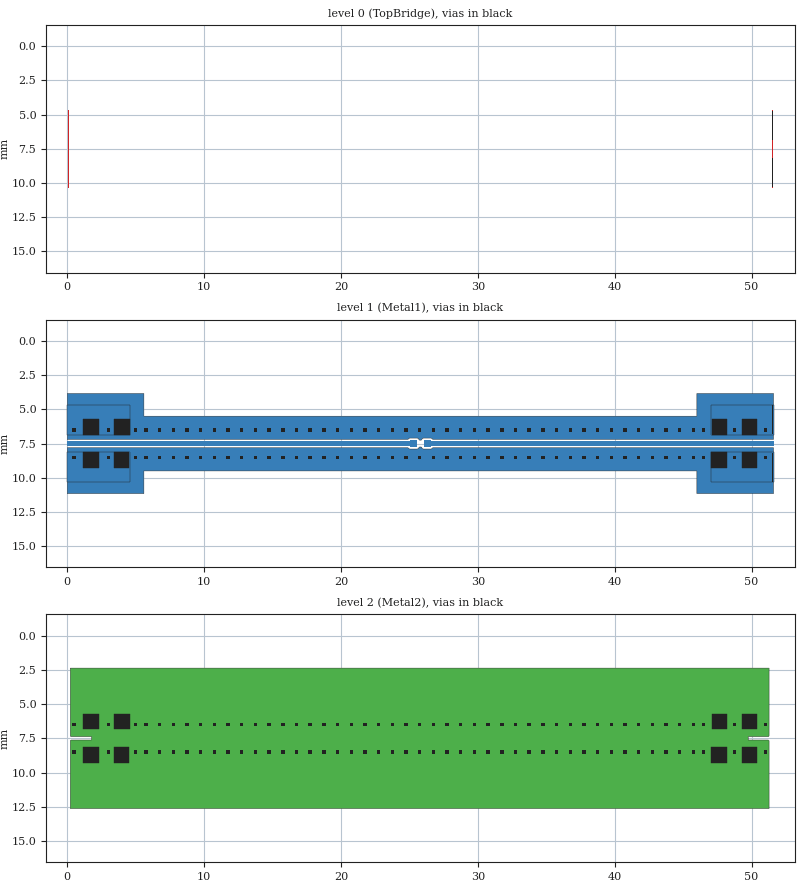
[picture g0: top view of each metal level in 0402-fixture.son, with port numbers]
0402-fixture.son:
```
FTYP SONPROJ 19 ! Sonnet Project File
VER 18.01
HEADER
LIC antikernel2.1.51012 90e2ba8817c1 havequick azonenberg Level3Gold
DAT 09/06/2021 17:50:32
BUILT_BY_CREATED dxf 17.52.2 05/01/2020 05:35:06
BUILT_BY_SAVED sonnet 18.01
MDATE 09/06/2021 17:50:32
HDATE 09/06/2021 17:50:32
ANN Created by dxfgeo, Sonnet Software Inc.
END HEADER
DIM
ANG DEG
CAP PF
CON /OH
FREQ GHZ
IND NH
LNG MM
RES OH
END DIM
CONTROL
VARSWP
OPTIONS  -dj
SPEED 1
CACHE_ABS 1
Q_ACC N
END CONTROL
GEO
SYM
DRP1 LEFT NONE 10
DRP1 RIGHT NONE 10
TMET "Free Space" 0 FREESPACE 376.7303136 0 0 0
BMET "Free Space" 0 FREESPACE 376.7303136 0 0 0
MET "Copper 1oz thick" 2 TMM 58000000 0.5 0.035 2
MET "Nickel " 3 TMM 14300000 0.5 3.5e-05 2
MET "Copper 0.5oz" 1 NOR 58000000 0.5 0.0175 
MET "Unknown_metal" 1 NOR INF 0.5 0 
MET "Copper 0.25mm thick" 4 TMM 58000000 0.5 0.25 2
MET "Brass 0.8mm" 11 TMM 15700000 0.5 0.8 2
MET "Unknown_metal" 1 VOL INF 0
BRI "Alumina (96%)" 0 9.4 0.0004 0 
BRI "Alumina (99.5%)" 0 9.9 0.0001 0 
BRI "Aluminum Nitride" 0 8.6 0.0003 0 
BRI "Arlon 25FR" 0 3.58 0.0035 0 
BRI "Arlon 25N" 0 3.38 0.0025 0 
BRI "Arlon AD5" 0 5.1 0.003 0 
BRI "Arlon AD10" 0 10.2 0.005 0 
BRI "Arlon AD250" 0 2.5 0.0018 0 
BRI "Arlon AD255A" 0 2.55 0.0015 0 
BRI "Arlon AD260A" 0 2.6 0.0018 0 
BRI "Arlon AD270" 0 2.7 0.0023 0 
BRI "Arlon AD300A" 0 3 0.002 0 
BRI "Arlon AD320A" 0 3.2 0.0032 0 
BRI "Arlon AD350A" 0 3.5 0.003 0 
BRI "Arlon AD410" 0 4.1 0.003 0 
BRI "Arlon AD430" 0 4.3 0.003 0 
BRI "Arlon AD450" 0 4.5 0.0035 0 
BRI "Arlon AD600" 0 6.15 0.003 0 
BRI "Arlon AD1000" 0 10.2 0.0023 0 
BRI "Arlon AR1000" 0 9.8 0.003 0 
BRI "Arlon CLTE" 0 2.96 0.0023 0 
BRI "Arlon CLTE-AT" 0 3 0.0013 0 
BRI "Arlon CLTE-P" 0 2.94 0.0025 0 
BRI "Arlon CLTE-XT" 0 2.94 0.0012 0 
BRI "Arlon Cu 217LX" 0 2.17 0.0009 0 
BRI "Arlon Cu 233LX" 0 2.33 0.0013 0 
BRI "Arlon Cu 250GT" 0 2.5 0.001 0 
BRI "Arlon Cu 250GX" 0 2.5 0.0018 0 
BRI "Arlon Cu 6250" 0 2.32 0.0013 0 
BRI "Arlon Cu 6700" 0 2.35 0.0025 0 
BRI "Arlon Di 522" 0 2.5 0.001 0 
BRI "Arlon Di 527" 0 2.5 0.0018 0 
BRI "Arlon Di 870" 0 2.33 0.0013 0 
BRI "Arlon Di 880" 0 2.17 0.0009 0 
BRI "Arlon Iso 917" 0 2.17 0.0013 0 
BRI "Arlon Iso 933" 0 2.33 0.0016 0 
BRI "Arlon Multi HF" 0 3.7 0.004 0 
BRI "Arlon TC350" 0 3.5 0.002 0 
BRI "Arlon TC600" 0 6.15 0.002 0 
BRI "Beryllia (99.5%)" 0 6.5 0.0004 0 
BRI "CEM-1" 0 4.5 0.02 0 
BRI "CEM-3" 0 4.5 0.02 0 
BRI "Dupont 9K7" 0 7.1 0.0012 0 
BRI "Dupont 943" 0 7.4 0.002 0 
BRI "Dupont 951" 0 7.8 0.006 0 
BRI "Dupont FEP" 0 2 0.0005 0 
BRI "Dupont Vacrel" 0 3.8 0.011 0 
BRI "ESL 41010" 0 7.5 0.005 0 
BRI "ESL 41020" 0 7.25 0.005 0 
BRI "ESL 41050" 0 13.5 0.002 0 
BRI "ESL 41060" 0 16.5 0.002 0 
BRI "ESL 41110" 0 4.5 0.004 0 
BRI "Ferro A6M" 0 5.9 0.002 0 
BRI "Ferro A6S" 0 5.9 0.002 0 
BRI "Ferro L8" 0 7.3 0.0018 0 
BRI "FR-4" 0 4.4 0.02 0 
BRI "G-10" 0 4.8 0.025 0 
BRI "Gallium Arsenide" 0 12.9 0.006 0 
BRI "Gallium Nitride" 0 9.7 0 0 
BRI "Glass (Pyrex)" 0 4.82 0.0054 0 
BRI "Heraeus HL2000" 0 7.3 0.0026 0 
BRI "Isola 370HR" 0 4.04 0.021 0 
BRI "Isola FR408" 0 3.77 0.0116 0 
BRI "Isola FR408HR" 0 3.68 0.0092 0 
BRI "Isola Getek" 0 3.6 0.01 0 
BRI "Isola GI-180" 0 3.7 0.013 0 
BRI "Isola IS415" 0 3.82 0.0125 0 
BRI "Isola IS620i" 0 3.58 0.006 0 
BRI "Isola IS680-280" 0 2.8 0.0025 0 
BRI "Isola IS680-300" 0 3 0.003 0 
BRI "Isola IS680-320" 0 3.2 0.003 0 
BRI "Isola IS680-333" 0 3.33 0.003 0 
BRI "Isola IS680-338" 0 3.38 0.0032 0 
BRI "Isola IS680-345" 0 3.45 0.0036 0 
BRI "Kerafol CT800" 0 5.3 0.008 0 
BRI "Nelco MW9350" 0 3.7 0.004 0 
BRI "Nelco N4000-12" 0 3.7 0.008 0 
BRI "Nelco N4000-13" 0 3.7 0.009 0 
BRI "Nelco N4000-13SI" 0 3.2 0.007 0 
BRI "Nelco N4000-13EP" 0 3.7 0.008 0 
BRI "Nelco N4350-13RF" 0 3.5 0.0065 0 
BRI "Nelco N4380-13RF" 0 3.8 0.007 0 
BRI "Nelco N9300-13RF" 0 3 0.004 0 
BRI "Nelco N9320-13RF" 0 3.2 0.0045 0 
BRI "Nelco N9338-13RF" 0 3.38 0.0046 0 
BRI "Nelco N9350-13RF" 0 3.48 0.0055 0 
BRI "Nelco NH9294" 0 2.94 0.0022 0 
BRI "Nelco NH9300" 0 3 0.0023 0 
BRI "Nelco NH9320" 0 3.2 0.0024 0 
BRI "Nelco NH9338" 0 3.38 0.0025 0 
BRI "Nelco NH9348" 0 3.48 0.003 0 
BRI "Nelco NH9350" 0 3.5 0.003 0 
BRI "Nelco NH9410" 0 4.1 0.003 0 
BRI "Nelco NH9450" 0 4.5 0.003 0 
BRI "Nelco NX9240" 0 2.4 0.0016 0 
BRI "Nelco NX9245" 0 2.45 0.0016 0 
BRI "Nelco NX9250" 0 2.5 0.0017 0 
BRI "Nelco NX9255" 0 2.55 0.0018 0 
BRI "Nelco NX9260" 0 2.6 0.0019 0 
BRI "Nelco NY9208" 0 2.08 0.0006 0 
BRI "Nelco NY9217" 0 2.17 0.0008 0 
BRI "Nelco NY9220" 0 2.2 0.0009 0 
BRI "Nelco NY9233" 0 2.33 0.0011 0 
BRI "PET" 0 3.37 0.0208 0 
BRI "Polyimide" 0 3.5 0.003 0 
BRI "Quartz (Fused)" 0 3.78 0.0001 0 
BRI "Rogers 3001" 0 2.28 0.003 0 
BRI "Rogers RO2808" 0 7.6 0.0015 0 
BRI "Rogers RO3003" 0 3 0.0013 0 
BRI "Rogers RO3006" 0 6.5 0.002 0 
BRI "Rogers RO3010" 0 11.2 0.0022 0 
BRI "Rogers RO3035" 0 3.6 0.0018 0 
BRI "Rogers RO3203" 0 3.02 0.0016 0 
BRI "Rogers RO3206" 0 6.6 0.0027 0 
BRI "Rogers RO3210" 0 10.8 0.0027 0 
BRI "Rogers RO3730" 0 3 0.0016 0 
BRI "Rogers RO4003C" 0 3.55 0.0029 0 
BRI "Rogers RO4533" 0 3.45 0.0029 0 
BRI "Rogers RO4534" 0 3.4 0.003 0 
BRI "Rogers RO4350B" 0 3.66 0.0037 0 
BRI "Rogers RO4350BTX" 0 3.66 0.0034 0 
BRI "Rogers RO4360" 0 6.15 0.0038 0 
BRI "Rogers RO4450B-3.6" 0 3.3 0.0043 0 
BRI "Rogers RO4450B-4" 0 3.54 0.004 0 
BRI "Rogers RO4450F" 0 3.52 0.0041 0 
BRI "Rogers RO4730" 0 3 0.0033 0 
BRI "Rogers RT5870" 0 2.33 0.0012 0 
BRI "Rogers RT5880" 0 2.2 0.0009 0 
BRI "Rogers RT5880LZ" 0 1.96 0.0019 0 
BRI "Rogers RT6002" 0 2.94 0.0012 0 
BRI "Rogers RT6006" 0 6.15 0.0027 0 
BRI "Rogers RT6010LM" 0 10.9 0.0023 0 
BRI "Rogers RT6035HTC" 0 3.6 0.0013 0 
BRI "Rogers RT6202" 0 2.94 0.0015 0 
BRI "Rogers RT6202PR" 0 2.95 0.0015 0 
BRI "Rogers Syron7000" 0 3.4 0.0045 0 
BRI "Rogers Syron7100-2" 0 3.61 0.006 0 
BRI "Rogers Syron7100-4" 0 3.39 0.005 0 
BRI "Rogers Theta" 0 4.01 0.0118 0 
BRI "Rogers TMM 3" 0 3.39 0.002 0 
BRI "Rogers TMM 4" 0 4.5 0.002 0 
BRI "Rogers TMM 6" 0 6 0.0023 0 
BRI "Rogers TMM 10" 0 9.56 0.0022 0 
BRI "Rogers TMM 10i" 0 9.96 0.002 0 
BRI "Rogers UL2000" 0 2.5 0.0019 0 
BRI "Rogers UL3850" 0 3.05 0.0025 0 
BRI "Rogers UL3908" 0 2.9 0.0025 0 
BRI "Rogers XT8000" 0 3.34 0.0035 0 
BRI "Rogers XT8100-2" 0 3.54 0.0049 0 
BRI "Rogers XT8100-4" 0 3.32 0.0038 0 
BRI "Silicon (intrinsic)" 0 11.9 0.004 0.00044 
BRI "Silicon Dioxide" 0 3.9 0 0 
BRI "Silicon Nitride" 0 7.5 0 0 
BRI "Taconic CER-10" 0 10 0.0035 0 
BRI "Taconic FastFilm" 0 2.7 0.0012 0 
BRI "Taconic Fastrise-DS" 0 2.96 0.0018 0 
BRI "Taconic Fastrise27" 0 2.7 0.0014 0 
BRI "Taconic Fastrise77" 0 7.7 0.0034 0 
BRI "Taconic FEP" 0 2 0.0003 0 
BRI "Taconic RF-30" 0 3 0.0014 0 
BRI "Taconic RF-35" 0 3.5 0.0018 0 
BRI "Taconic RF-35A2" 0 3.5 0.0011 0 
BRI "Taconic RF-35P" 0 3.5 0.0025 0 
BRI "Taconic RF-41" 0 4.1 0.0038 0 
BRI "Taconic RF-43" 0 4.3 0.0033 0 
BRI "Taconic RF-45" 0 4.5 0.0037 0 
BRI "Taconic RF-60A" 0 6.15 0.0038 0 
BRI "Taconic RF-301" 0 2.97 0.0012 0 
BRI "Taconic TacBond HT" 0 2.35 0.0025 0 
BRI "Taconic TLA-6" 0 2.62 0.0012 0 
BRI "Taconic TLC-27" 0 2.75 0.003 0 
BRI "Taconic TLC-30" 0 3 0.003 0 
BRI "Taconic TLC-32" 0 3.2 0.003 0 
BRI "Taconic TLE-95" 0 2.95 0.0028 0 
BRI "Taconic TLF-34" 0 3.4 0.002 0 
BRI "Taconic TLF-35" 0 3.5 0.002 0 
BRI "Taconic TLP-3" 0 2.33 0.0009 0 
BRI "Taconic TLP-5" 0 2.2 0.0009 0 
BRI "Taconic TLP-5A" 0 2.17 0.0009 0 
BRI "Taconic TLT-0" 0 2.45 0.0006 0 
BRI "Taconic TLT-9" 0 2.5 0.0006 0 
BRI "Taconic TLT-8" 0 2.55 0.0006 0 
BRI "Taconic TLT-7" 0 2.6 0.0006 0 
BRI "Taconic TLT-6" 0 2.65 0.0006 0 
BRI "Taconic TLX-0" 0 2.45 0.0019 0 
BRI "Taconic TLX-9" 0 2.5 0.0019 0 
BRI "Taconic TLX-8" 0 2.55 0.0019 0 
BRI "Taconic TLX-7" 0 2.6 0.0019 0 
BRI "Taconic TLX-6" 0 2.65 0.0019 0 
BRI "Taconic TLY-3" 0 2.33 0.0009 0 
BRI "Taconic TLY-3F" 0 2.33 0.0009 0 
BRI "Taconic TLY-5" 0 2.2 0.0009 0 
BRI "Taconic TLY-5-L" 0 2.2 0.0009 0 
BRI "Taconic TLY-5A" 0 2.17 0.0009 0 
BRI "Taconic TLY-5A-L" 0 2.17 0.0009 0 
BRI "Taconic TPG-30" 0 3 0.0038 0 
BRI "Taconic TPG-32" 0 3.2 0.005 0 
BRI "Taconic TPG-35" 0 3.5 0.005 0 
BRI "Taconic TRF-41" 0 4.1 0.0035 0 
BRI "Taconic TRF-43" 0 4.3 0.0035 0 
BRI "Taconic TRF-45" 0 4.5 0.0035 0 
BRI "Taconic TSM-DS" 0 2.85 0.001 0 
BRI "Taconic TSM-DS3" 0 3 0.0011 0 
BRI "Taconic TSM-26" 0 2.6 0.0014 0 
BRI "Taconic TSM-29" 0 2.94 0.0013 0 
BRI "Taconic TSM-30" 0 3 0.0013 0 
BRI "Teflon (PTFE)" 0 2.08 0.0004 0 
BOX 3 51.6 15 2064 3000 20 0
      10 1 1 0 0 0 0 "Air"
      0.8 1 1 0 0 0 0 "Air"
      0.166 3.66 1 0.0037 0 0 0 "Rogers RO4350B"
      10 1 1 0 0 0 0 "Air"
TECHLAY VIA Via2 <UNSPECIFIED> -8 -65534 
VIA POLYGON
0 0 -1 N 1953 1 1 100 100 0 0 0 Y
TOLEVEL 1 RING NOCOVERS
END
END
TECHLAY METAL TopBridge <UNSPECIFIED> -7 -65534 
0 0 2 N 1905 1 1 100 100 0 0 0 Y
END
END
TECHLAY METAL Metal1 L1D0 -2 -65534 
1 0 0 N 1908 1 1 100 100 0 0 0 Y
END
END
TECHLAY METAL ConnBody <UNSPECIFIED> -6 -65534 
1 0 5 N 1910 1 1 100 100 0 0 0 Y
END
END
TECHLAY METAL CenterPin <UNSPECIFIED> -5 -65534 
1 0 4 N 1912 1 1 100 100 0 0 0 Y
END
END
TECHLAY VIA Via1 L3D0 -4 -65534 
VIA POLYGON
2 0 -1 N 1954 1 1 100 100 0 0 0 Y
TOLEVEL 1 RING NOCOVERS
END
END
TECHLAY METAL Metal2 L2D0 -3 -65534 
2 0 2 N 1917 1 1 100 100 0 0 0 Y
END
END
VALVAR BOTLEN LNG 2 "Dim. Param."
VALVAR TOPLEN LNG 3 "Dim. Param."
DIM STD YDIR -1
POS -0.06915206507 -0.2024361302
NOM 0.25
REF1 POLY 1236 1
3
REF2 POLY 1236 1
0
END
DIM STD XDIR 1
POS 1.353274859 -0.08058315952
NOM 1.65
REF1 POLY 1236 1
0
REF2 POLY 1236 1
1
END
DIM STD YDIR -1
POS 1.730847935 -0.1924361302
NOM 0.25
REF1 POLY 1241 1
3
REF2 POLY 1241 1
0
END
DIM STD XDIR 1
POS 1.353274859 -0.08058315952
NOM 1.65
REF1 POLY 1241 1
0
REF2 POLY 1241 1
1
END
DIM STD YDIR -1
POS -0.5706571017 -2.312418435
NOM 2.195
REF1 POLY 1247 1
3
REF2 POLY 1247 1
0
END
DIM STD XDIR 1
POS 4.710339183 -0.148846506
NOM 4.55
REF1 POLY 1247 1
0
REF2 POLY 1247 1
1
END
DIM STD YDIR -1
POS -0.5706571017 -2.312418435
NOM 2.195
REF1 POLY 1252 1
3
REF2 POLY 1252 1
0
END
DIM STD XDIR 1
POS 4.710339183 -0.148846506
NOM 4.55
REF1 POLY 1252 1
0
REF2 POLY 1252 1
1
END
DIM STD YDIR -1
POS -0.08394937587 -0.1206789329
NOM 0.51
REF1 POLY 1236 1
0
REF2 POLY 1247 1
3
END
DIM STD YDIR 1
POS -0.240898209 0.3525940726
NOM 1.27
REF1 POLY 1247 1
3
REF2 POLY 1252 1
0
END
DIM STD YDIR 1
POS -0.07482444371 0.2078417661
NOM 0.51
REF1 POLY 1236 1
3
REF2 POLY 1252 1
0
END
DIM STD YDIR -1
POS 0.5706571017 -2.312418435
NOM 2.195
REF1 POLY 1264 1
3
REF2 POLY 1264 1
0
END
DIM STD XDIR -1
POS -4.710339183 -0.148846506
NOM 4.55
REF1 POLY 1264 1
0
REF2 POLY 1264 1
1
END
DIM STD YDIR -1
POS 0.5706571017 -2.312418435
NOM 2.195
REF1 POLY 1263 1
3
REF2 POLY 1263 1
0
END
DIM STD XDIR -1
POS -4.710339183 -0.148846506
NOM 4.55
REF1 POLY 1263 1
0
REF2 POLY 1263 1
1
END
DIM STD YDIR 1
POS 0.240898209 0.3525940726
NOM 1.27
REF1 POLY 1264 1
3
REF2 POLY 1263 1
0
END
DIM STD XDIR 1
POS 0.1287407935 -0.09475026035
NOM 0.075
REF1 POLY 1274 1
0
REF2 POLY 1274 1
1
END
DIM STD XDIR -1
POS -0.1287407935 -0.09475026035
NOM 0.075
REF1 POLY 1277 1
0
REF2 POLY 1277 1
1
END
LORGN 0 15 U 
NUM 119
VIA POLYGON
0 5 -1 N 1292 1 1 100 100 0 0 0 Y
TOLEVEL 1 RING NOCOVERS
TLAYNAM Via2 INH
0.05 4.71
0.075 4.71
0.075 6.83
0.05 6.83
0.05 4.71
END
VIA POLYGON
0 5 -1 N 1293 1 1 100 100 0 0 0 Y
TOLEVEL 1 RING NOCOVERS
TLAYNAM Via2 INH
0.05 10.29
0.075 10.29
0.075 8.17
0.05 8.17
0.05 10.29
END
VIA POLYGON
0 5 -1 N 1294 1 1 100 100 0 0 0 Y
TOLEVEL 1 RING NOCOVERS
TLAYNAM Via2 INH
51.55 10.29
51.525 10.29
51.525 8.17
51.55 8.17
51.55 10.29
END
VIA POLYGON
0 5 -1 N 1295 1 1 100 100 0 0 0 Y
TOLEVEL 1 RING NOCOVERS
TLAYNAM Via2 INH
51.55 4.71
51.525 4.71
51.525 6.83
51.55 6.83
51.55 4.71
END
0 5 2 N 1274 1 1 100 100 0 0 0 Y
TLAYNAM TopBridge INH
0.05 4.67
0.125 4.67
0.125 10.325
0.05 10.325
0.05 4.67
END
0 5 2 N 1277 1 1 100 100 0 0 0 Y
TLAYNAM TopBridge INH
51.55 4.67
51.475 4.67
51.475 10.325
51.55 10.325
51.55 4.67
END
1 83 0 N 1312 1 1 100 100 0 0 0 Y
TLAYNAM Metal1 INH
USER_DAT FromImport
6.217248938e-15 11.152885
6.217248938e-15 7.802885
5.6 7.802885
5.6 7.803885
5.607 7.802885
24.87 7.802885
24.884 7.804885
24.891 7.806885
24.898 7.809885
24.905 7.813885
24.911 7.817885
24.916 7.821885
24.922 7.827885
24.926 7.832885
24.946 7.855885
24.967 7.873885
24.994 7.887885
25.021 7.895885
25.046 7.898885
25.554 7.898885
25.578 7.895885
25.61 7.885885
25.635 7.872885
25.655 7.856885
25.676 7.830885
25.689 7.805885
25.689 7.804885
25.691 7.797885
25.694 7.790885
25.698 7.783885
25.702 7.777885
25.706 7.772885
25.712 7.766885
25.717 7.762885
25.723 7.758885
25.73 7.754885
25.737 7.751885
25.744 7.749885
25.758 7.747885
25.842 7.747885
25.856 7.749885
25.863 7.751885
25.87 7.754885
25.877 7.758885
25.883 7.762885
25.888 7.766885
25.894 7.772885
25.898 7.777885
25.902 7.783885
25.906 7.790885
25.909 7.797885
25.912 7.808885
25.925 7.832885
25.941 7.852885
25.967 7.873885
25.994 7.887885
26.021 7.895885
26.046 7.898885
26.554 7.898885
26.578 7.895885
26.61 7.885885
26.635 7.872885
26.655 7.855885
26.67 7.838885
26.67 7.837885
26.678 7.827885
26.684 7.821885
26.689 7.817885
26.695 7.813885
26.702 7.809885
26.709 7.806885
26.716 7.804885
26.73 7.802885
45.993 7.802885
46 7.803885
46 7.802885
51.6 7.802885
51.6 11.152885
46 11.152885
46 9.497885
5.6 9.497885
5.6 11.152885
6.217248938e-15 11.152885
END
1 9 0 N 1313 1 1 100 100 0 0 0 Y
TLAYNAM Metal1 INH
USER_DAT FromImport
25.05 7.747885
25.05 7.652885
6.217248938e-15 7.652885
6.217248938e-15 7.342885
25.05 7.342885
25.05 7.247885
25.55 7.247885
25.55 7.747885
25.05 7.747885
END
1 9 0 N 1314 1 1 100 100 0 0 0 Y
TLAYNAM Metal1 INH
USER_DAT FromImport
26.05 7.747885
26.05 7.247885
26.55 7.247885
26.55 7.342885
51.6 7.342885
51.6 7.652885
26.55 7.652885
26.55 7.747885
26.05 7.747885
END
1 83 0 N 1315 1 1 100 100 0 0 0 Y
TLAYNAM Metal1 INH
USER_DAT FromImport
25.758 7.247885
25.744 7.245885
25.737 7.243885
25.73 7.240885
25.723 7.236885
25.717 7.232885
25.712 7.228885
25.706 7.222885
25.702 7.217885
25.698 7.211885
25.694 7.204885
25.691 7.197885
25.688 7.186885
25.675 7.162885
25.659 7.142885
25.632 7.121885
25.606 7.107885
25.579 7.099885
25.554 7.096885
25.046 7.096885
25.022 7.099885
24.99 7.109885
24.965 7.122885
24.945 7.139885
24.93 7.156885
24.93 7.157885
24.922 7.167885
24.916 7.173885
24.911 7.177885
24.905 7.181885
24.898 7.185885
24.891 7.188885
24.884 7.190885
24.87 7.192885
5.607 7.192885
5.6 7.191885
5.6 7.192885
6.217248938e-15 7.192885
6.217248938e-15 3.842885
5.6 3.842885
5.6 5.497885
46 5.497885
46 3.842885
51.6 3.842885
51.6 7.192885
46 7.192885
46 7.191885
45.993 7.192885
26.73 7.192885
26.716 7.190885
26.709 7.188885
26.702 7.185885
26.695 7.181885
26.689 7.177885
26.684 7.173885
26.678 7.167885
26.674 7.162885
26.654 7.139885
26.632 7.121885
26.606 7.107885
26.579 7.099885
26.554 7.096885
26.046 7.096885
26.022 7.099885
25.99 7.109885
25.965 7.122885
25.945 7.138885
25.924 7.165885
25.911 7.189885
25.911 7.190885
25.909 7.197885
25.906 7.204885
25.902 7.211885
25.898 7.217885
25.894 7.222885
25.888 7.228885
25.883 7.232885
25.877 7.236885
25.87 7.240885
25.863 7.243885
25.856 7.245885
25.842 7.247885
25.758 7.247885
END
1 5 5 N 1247 1 1 100 100 0 0 0 Y
TLAYNAM ConnBody INH
0 4.67
4.55 4.67
4.55 6.865
0 6.865
0 4.67
END
1 5 5 N 1252 1 1 100 100 0 0 0 Y
TLAYNAM ConnBody INH
0 8.135
4.55 8.135
4.55 10.33
0 10.33
0 8.135
END
1 5 5 N 1263 1 1 100 100 0 0 0 Y
TLAYNAM ConnBody INH
51.6 8.135
47.05 8.135
47.05 10.33
51.6 10.33
51.6 8.135
END
1 5 5 N 1264 1 1 100 100 0 0 0 Y
TLAYNAM ConnBody INH
51.6 4.67
47.05 4.67
47.05 6.865
51.6 6.865
51.6 4.67
END
1 5 4 N 1236 1 1 100 100 0 0 0 Y
TLAYNAM CenterPin INH
-5.551115123e-17 7.375
1.65 7.375
1.65 7.625
-5.551115123e-17 7.625
-5.551115123e-17 7.375
END
1 5 4 N 1241 1 1 100 100 0 0 0 Y
TLAYNAM CenterPin INH
49.95 7.375
51.6 7.375
51.6 7.625
49.95 7.625
49.95 7.375
END
VIA POLYGON
2 5 -1 N 1321 1 1 100 100 0 0 0 Y
TOLEVEL 1 RING NOCOVERS
TLAYNAM Via1 INH
USER_DAT FromImport
25.625 8.622885
25.625 8.372885
25.875 8.372885
25.875 8.622885
25.625 8.622885
END
VIA POLYGON
2 5 -1 N 1322 1 1 100 100 0 0 0 Y
TOLEVEL 1 RING NOCOVERS
TLAYNAM Via1 INH
USER_DAT FromImport
25.625 6.622885
25.625 6.372885
25.875 6.372885
25.875 6.622885
25.625 6.622885
END
VIA POLYGON
2 5 -1 N 1335 1 1 100 100 0 0 0 Y
TOLEVEL 1 RING NOCOVERS
TLAYNAM Via1 INH
USER_DAT FromImport
38.625 8.622885
38.625 8.372885
38.875 8.372885
38.875 8.622885
38.625 8.622885
END
VIA POLYGON
2 5 -1 N 1336 1 1 100 100 0 0 0 Y
TOLEVEL 1 RING NOCOVERS
TLAYNAM Via1 INH
USER_DAT FromImport
39.625 8.622885
39.625 8.372885
39.875 8.372885
39.875 8.622885
39.625 8.622885
END
VIA POLYGON
2 5 -1 N 1337 1 1 100 100 0 0 0 Y
TOLEVEL 1 RING NOCOVERS
TLAYNAM Via1 INH
USER_DAT FromImport
40.625 8.622885
40.625 8.372885
40.875 8.372885
40.875 8.622885
40.625 8.622885
END
VIA POLYGON
2 5 -1 N 1338 1 1 100 100 0 0 0 Y
TOLEVEL 1 RING NOCOVERS
TLAYNAM Via1 INH
USER_DAT FromImport
41.625 8.622885
41.625 8.372885
41.875 8.372885
41.875 8.622885
41.625 8.622885
END
VIA POLYGON
2 5 -1 N 1339 1 1 100 100 0 0 0 Y
TOLEVEL 1 RING NOCOVERS
TLAYNAM Via1 INH
USER_DAT FromImport
42.625 8.622885
42.625 8.372885
42.875 8.372885
42.875 8.622885
42.625 8.622885
END
VIA POLYGON
2 5 -1 N 1340 1 1 100 100 0 0 0 Y
TOLEVEL 1 RING NOCOVERS
TLAYNAM Via1 INH
USER_DAT FromImport
43.625 8.622885
43.625 8.372885
43.875 8.372885
43.875 8.622885
43.625 8.622885
END
VIA POLYGON
2 5 -1 N 1341 1 1 100 100 0 0 0 Y
TOLEVEL 1 RING NOCOVERS
TLAYNAM Via1 INH
USER_DAT FromImport
44.625 8.622885
44.625 8.372885
44.875 8.372885
44.875 8.622885
44.625 8.622885
END
VIA POLYGON
2 5 -1 N 1342 1 1 100 100 0 0 0 Y
TOLEVEL 1 RING NOCOVERS
TLAYNAM Via1 INH
USER_DAT FromImport
45.625 8.622885
45.625 8.372885
45.875 8.372885
45.875 8.622885
45.625 8.622885
END
VIA POLYGON
2 5 -1 N 1343 1 1 100 100 0 0 0 Y
TOLEVEL 1 RING NOCOVERS
TLAYNAM Via1 INH
USER_DAT FromImport
46.375 8.622885
46.375 8.372885
46.625 8.372885
46.625 8.622885
46.375 8.622885
END
VIA POLYGON
2 5 -1 N 1344 1 1 100 100 0 0 0 Y
TOLEVEL 1 RING NOCOVERS
TLAYNAM Via1 INH
USER_DAT FromImport
48.625 8.622885
48.625 8.372885
48.875 8.372885
48.875 8.622885
48.625 8.622885
END
VIA POLYGON
2 5 -1 N 1345 1 1 100 100 0 0 0 Y
TOLEVEL 1 RING NOCOVERS
TLAYNAM Via1 INH
USER_DAT FromImport
50.875 8.622885
50.875 8.372885
51.125 8.372885
51.125 8.622885
50.875 8.622885
END
VIA POLYGON
2 5 -1 N 1346 1 1 100 100 0 0 0 Y
TOLEVEL 1 RING NOCOVERS
TLAYNAM Via1 INH
USER_DAT FromImport
47.05 9.287885
47.05 8.147885
48.19 8.147885
48.19 9.287885
47.05 9.287885
END
VIA POLYGON
2 5 -1 N 1347 1 1 100 100 0 0 0 Y
TOLEVEL 1 RING NOCOVERS
TLAYNAM Via1 INH
USER_DAT FromImport
49.28 9.287885
49.28 8.147885
50.42 8.147885
50.42 9.287885
49.28 9.287885
END
VIA POLYGON
2 5 -1 N 1348 1 1 100 100 0 0 0 Y
TOLEVEL 1 RING NOCOVERS
TLAYNAM Via1 INH
USER_DAT FromImport
38.625 6.622885
38.625 6.372885
38.875 6.372885
38.875 6.622885
38.625 6.622885
END
VIA POLYGON
2 5 -1 N 1349 1 1 100 100 0 0 0 Y
TOLEVEL 1 RING NOCOVERS
TLAYNAM Via1 INH
USER_DAT FromImport
39.625 6.622885
39.625 6.372885
39.875 6.372885
39.875 6.622885
39.625 6.622885
END
VIA POLYGON
2 5 -1 N 1350 1 1 100 100 0 0 0 Y
TOLEVEL 1 RING NOCOVERS
TLAYNAM Via1 INH
USER_DAT FromImport
40.625 6.622885
40.625 6.372885
40.875 6.372885
40.875 6.622885
40.625 6.622885
END
VIA POLYGON
2 5 -1 N 1351 1 1 100 100 0 0 0 Y
TOLEVEL 1 RING NOCOVERS
TLAYNAM Via1 INH
USER_DAT FromImport
41.625 6.622885
41.625 6.372885
41.875 6.372885
41.875 6.622885
41.625 6.622885
END
VIA POLYGON
2 5 -1 N 1352 1 1 100 100 0 0 0 Y
TOLEVEL 1 RING NOCOVERS
TLAYNAM Via1 INH
USER_DAT FromImport
42.625 6.622885
42.625 6.372885
42.875 6.372885
42.875 6.622885
42.625 6.622885
END
VIA POLYGON
2 5 -1 N 1353 1 1 100 100 0 0 0 Y
TOLEVEL 1 RING NOCOVERS
TLAYNAM Via1 INH
USER_DAT FromImport
43.625 6.622885
43.625 6.372885
43.875 6.372885
43.875 6.622885
43.625 6.622885
END
VIA POLYGON
2 5 -1 N 1354 1 1 100 100 0 0 0 Y
TOLEVEL 1 RING NOCOVERS
TLAYNAM Via1 INH
USER_DAT FromImport
44.625 6.622885
44.625 6.372885
44.875 6.372885
44.875 6.622885
44.625 6.622885
END
VIA POLYGON
2 5 -1 N 1355 1 1 100 100 0 0 0 Y
TOLEVEL 1 RING NOCOVERS
TLAYNAM Via1 INH
USER_DAT FromImport
45.625 6.622885
45.625 6.372885
45.875 6.372885
45.875 6.622885
45.625 6.622885
END
VIA POLYGON
2 5 -1 N 1356 1 1 100 100 0 0 0 Y
TOLEVEL 1 RING NOCOVERS
TLAYNAM Via1 INH
USER_DAT FromImport
46.375 6.622885
46.375 6.372885
46.625 6.372885
46.625 6.622885
46.375 6.622885
END
VIA POLYGON
2 5 -1 N 1357 1 1 100 100 0 0 0 Y
TOLEVEL 1 RING NOCOVERS
TLAYNAM Via1 INH
USER_DAT FromImport
48.625 6.622885
48.625 6.372885
48.875 6.372885
48.875 6.622885
48.625 6.622885
END
VIA POLYGON
2 5 -1 N 1358 1 1 100 100 0 0 0 Y
TOLEVEL 1 RING NOCOVERS
TLAYNAM Via1 INH
USER_DAT FromImport
50.875 6.622885
50.875 6.372885
51.125 6.372885
51.125 6.622885
50.875 6.622885
END
VIA POLYGON
2 5 -1 N 1359 1 1 100 100 0 0 0 Y
TOLEVEL 1 RING NOCOVERS
TLAYNAM Via1 INH
USER_DAT FromImport
47.07 6.847885
47.07 5.707885
48.21 5.707885
48.21 6.847885
47.07 6.847885
END
VIA POLYGON
2 5 -1 N 1360 1 1 100 100 0 0 0 Y
TOLEVEL 1 RING NOCOVERS
TLAYNAM Via1 INH
USER_DAT FromImport
49.28 6.847885
49.28 5.707885
50.42 5.707885
50.42 6.847885
49.28 6.847885
END
VIA POLYGON
2 5 -1 N 1371 1 1 100 100 0 0 0 Y
TOLEVEL 1 RING NOCOVERS
TLAYNAM Via1 INH
USER_DAT FromImport
26.625 8.622885
26.625 8.372885
26.875 8.372885
26.875 8.622885
26.625 8.622885
END
VIA POLYGON
2 5 -1 N 1372 1 1 100 100 0 0 0 Y
TOLEVEL 1 RING NOCOVERS
TLAYNAM Via1 INH
USER_DAT FromImport
26.625 6.622885
26.625 6.372885
26.875 6.372885
26.875 6.622885
26.625 6.622885
END
VIA POLYGON
2 5 -1 N 1373 1 1 100 100 0 0 0 Y
TOLEVEL 1 RING NOCOVERS
TLAYNAM Via1 INH
USER_DAT FromImport
27.625 6.622885
27.625 6.372885
27.875 6.372885
27.875 6.622885
27.625 6.622885
END
VIA POLYGON
2 5 -1 N 1374 1 1 100 100 0 0 0 Y
TOLEVEL 1 RING NOCOVERS
TLAYNAM Via1 INH
USER_DAT FromImport
28.625 6.622885
28.625 6.372885
28.875 6.372885
28.875 6.622885
28.625 6.622885
END
VIA POLYGON
2 5 -1 N 1375 1 1 100 100 0 0 0 Y
TOLEVEL 1 RING NOCOVERS
TLAYNAM Via1 INH
USER_DAT FromImport
29.625 6.622885
29.625 6.372885
29.875 6.372885
29.875 6.622885
29.625 6.622885
END
VIA POLYGON
2 5 -1 N 1376 1 1 100 100 0 0 0 Y
TOLEVEL 1 RING NOCOVERS
TLAYNAM Via1 INH
USER_DAT FromImport
30.625 6.622885
30.625 6.372885
30.875 6.372885
30.875 6.622885
30.625 6.622885
END
VIA POLYGON
2 5 -1 N 1377 1 1 100 100 0 0 0 Y
TOLEVEL 1 RING NOCOVERS
TLAYNAM Via1 INH
USER_DAT FromImport
31.625 6.622885
31.625 6.372885
31.875 6.372885
31.875 6.622885
31.625 6.622885
END
VIA POLYGON
2 5 -1 N 1378 1 1 100 100 0 0 0 Y
TOLEVEL 1 RING NOCOVERS
TLAYNAM Via1 INH
USER_DAT FromImport
32.625 6.622885
32.625 6.372885
32.875 6.372885
32.875 6.622885
32.625 6.622885
END
VIA POLYGON
2 5 -1 N 1379 1 1 100 100 0 0 0 Y
TOLEVEL 1 RING NOCOVERS
TLAYNAM Via1 INH
USER_DAT FromImport
33.625 6.622885
33.625 6.372885
33.875 6.372885
33.875 6.622885
33.625 6.622885
END
VIA POLYGON
2 5 -1 N 1380 1 1 100 100 0 0 0 Y
TOLEVEL 1 RING NOCOVERS
TLAYNAM Via1 INH
USER_DAT FromImport
34.625 6.622885
34.625 6.372885
34.875 6.372885
34.875 6.622885
34.625 6.622885
END
VIA POLYGON
2 5 -1 N 1381 1 1 100 100 0 0 0 Y
TOLEVEL 1 RING NOCOVERS
TLAYNAM Via1 INH
USER_DAT FromImport
35.625 6.622885
35.625 6.372885
35.875 6.372885
35.875 6.622885
35.625 6.622885
END
VIA POLYGON
2 5 -1 N 1382 1 1 100 100 0 0 0 Y
TOLEVEL 1 RING NOCOVERS
TLAYNAM Via1 INH
USER_DAT FromImport
36.625 6.622885
36.625 6.372885
36.875 6.372885
36.875 6.622885
36.625 6.622885
END
VIA POLYGON
2 5 -1 N 1383 1 1 100 100 0 0 0 Y
TOLEVEL 1 RING NOCOVERS
TLAYNAM Via1 INH
USER_DAT FromImport
37.625 6.622885
37.625 6.372885
37.875 6.372885
37.875 6.622885
37.625 6.622885
END
VIA POLYGON
2 5 -1 N 1384 1 1 100 100 0 0 0 Y
TOLEVEL 1 RING NOCOVERS
TLAYNAM Via1 INH
USER_DAT FromImport
27.625 8.622885
27.625 8.372885
27.875 8.372885
27.875 8.622885
27.625 8.622885
END
VIA POLYGON
2 5 -1 N 1385 1 1 100 100 0 0 0 Y
TOLEVEL 1 RING NOCOVERS
TLAYNAM Via1 INH
USER_DAT FromImport
28.625 8.622885
28.625 8.372885
28.875 8.372885
28.875 8.622885
28.625 8.622885
END
VIA POLYGON
2 5 -1 N 1386 1 1 100 100 0 0 0 Y
TOLEVEL 1 RING NOCOVERS
TLAYNAM Via1 INH
USER_DAT FromImport
29.625 8.622885
29.625 8.372885
29.875 8.372885
29.875 8.622885
29.625 8.622885
END
VIA POLYGON
2 5 -1 N 1387 1 1 100 100 0 0 0 Y
TOLEVEL 1 RING NOCOVERS
TLAYNAM Via1 INH
USER_DAT FromImport
30.625 8.622885
30.625 8.372885
30.875 8.372885
30.875 8.622885
30.625 8.622885
END
VIA POLYGON
2 5 -1 N 1388 1 1 100 100 0 0 0 Y
TOLEVEL 1 RING NOCOVERS
TLAYNAM Via1 INH
USER_DAT FromImport
31.625 8.622885
31.625 8.372885
31.875 8.372885
31.875 8.622885
31.625 8.622885
END
VIA POLYGON
2 5 -1 N 1389 1 1 100 100 0 0 0 Y
TOLEVEL 1 RING NOCOVERS
TLAYNAM Via1 INH
USER_DAT FromImport
32.625 8.622885
32.625 8.372885
32.875 8.372885
32.875 8.622885
32.625 8.622885
END
VIA POLYGON
2 5 -1 N 1390 1 1 100 100 0 0 0 Y
TOLEVEL 1 RING NOCOVERS
TLAYNAM Via1 INH
USER_DAT FromImport
33.625 8.622885
33.625 8.372885
33.875 8.372885
33.875 8.622885
33.625 8.622885
END
VIA POLYGON
2 5 -1 N 1391 1 1 100 100 0 0 0 Y
TOLEVEL 1 RING NOCOVERS
TLAYNAM Via1 INH
USER_DAT FromImport
34.625 8.622885
34.625 8.372885
34.875 8.372885
34.875 8.622885
34.625 8.622885
END
VIA POLYGON
2 5 -1 N 1392 1 1 100 100 0 0 0 Y
TOLEVEL 1 RING NOCOVERS
TLAYNAM Via1 INH
USER_DAT FromImport
35.625 8.622885
35.625 8.372885
35.875 8.372885
35.875 8.622885
35.625 8.622885
END
VIA POLYGON
2 5 -1 N 1393 1 1 100 100 0 0 0 Y
TOLEVEL 1 RING NOCOVERS
TLAYNAM Via1 INH
USER_DAT FromImport
36.625 8.622885
36.625 8.372885
36.875 8.372885
36.875 8.622885
36.625 8.622885
END
VIA POLYGON
2 5 -1 N 1394 1 1 100 100 0 0 0 Y
TOLEVEL 1 RING NOCOVERS
TLAYNAM Via1 INH
USER_DAT FromImport
37.625 8.622885
37.625 8.372885
37.875 8.372885
37.875 8.622885
37.625 8.622885
END
VIA POLYGON
2 5 -1 N 1481 1 1 100 100 0 0 0 Y
TOLEVEL 1 RING NOCOVERS
TLAYNAM Via1 INH
USER_DAT FromImport
13.625 8.622885
13.625 8.372885
13.875 8.372885
13.875 8.622885
13.625 8.622885
END
VIA POLYGON
2 5 -1 N 1482 1 1 100 100 0 0 0 Y
TOLEVEL 1 RING NOCOVERS
TLAYNAM Via1 INH
USER_DAT FromImport
14.625 8.622885
14.625 8.372885
14.875 8.372885
14.875 8.622885
14.625 8.622885
END
VIA POLYGON
2 5 -1 N 1483 1 1 100 100 0 0 0 Y
TOLEVEL 1 RING NOCOVERS
TLAYNAM Via1 INH
USER_DAT FromImport
15.625 8.622885
15.625 8.372885
15.875 8.372885
15.875 8.622885
15.625 8.622885
END
VIA POLYGON
2 5 -1 N 1484 1 1 100 100 0 0 0 Y
TOLEVEL 1 RING NOCOVERS
TLAYNAM Via1 INH
USER_DAT FromImport
16.625 8.622885
16.625 8.372885
16.875 8.372885
16.875 8.622885
16.625 8.622885
END
VIA POLYGON
2 5 -1 N 1485 1 1 100 100 0 0 0 Y
TOLEVEL 1 RING NOCOVERS
TLAYNAM Via1 INH
USER_DAT FromImport
17.625 8.622885
17.625 8.372885
17.875 8.372885
17.875 8.622885
17.625 8.622885
END
VIA POLYGON
2 5 -1 N 1486 1 1 100 100 0 0 0 Y
TOLEVEL 1 RING NOCOVERS
TLAYNAM Via1 INH
USER_DAT FromImport
18.625 8.622885
18.625 8.372885
18.875 8.372885
18.875 8.622885
18.625 8.622885
END
VIA POLYGON
2 5 -1 N 1487 1 1 100 100 0 0 0 Y
TOLEVEL 1 RING NOCOVERS
TLAYNAM Via1 INH
USER_DAT FromImport
19.625 8.622885
19.625 8.372885
19.875 8.372885
19.875 8.622885
19.625 8.622885
END
VIA POLYGON
2 5 -1 N 1488 1 1 100 100 0 0 0 Y
TOLEVEL 1 RING NOCOVERS
TLAYNAM Via1 INH
USER_DAT FromImport
20.625 8.622885
20.625 8.372885
20.875 8.372885
20.875 8.622885
20.625 8.622885
END
VIA POLYGON
2 5 -1 N 1489 1 1 100 100 0 0 0 Y
TOLEVEL 1 RING NOCOVERS
TLAYNAM Via1 INH
USER_DAT FromImport
21.625 8.622885
21.625 8.372885
21.875 8.372885
21.875 8.622885
21.625 8.622885
END
VIA POLYGON
2 5 -1 N 1490 1 1 100 100 0 0 0 Y
TOLEVEL 1 RING NOCOVERS
TLAYNAM Via1 INH
USER_DAT FromImport
22.625 8.622885
22.625 8.372885
22.875 8.372885
22.875 8.622885
22.625 8.622885
END
VIA POLYGON
2 5 -1 N 1491 1 1 100 100 0 0 0 Y
TOLEVEL 1 RING NOCOVERS
TLAYNAM Via1 INH
USER_DAT FromImport
23.625 8.622885
23.625 8.372885
23.875 8.372885
23.875 8.622885
23.625 8.622885
END
VIA POLYGON
2 5 -1 N 1492 1 1 100 100 0 0 0 Y
TOLEVEL 1 RING NOCOVERS
TLAYNAM Via1 INH
USER_DAT FromImport
24.625 8.622885
24.625 8.372885
24.875 8.372885
24.875 8.622885
24.625 8.622885
END
VIA POLYGON
2 5 -1 N 1493 1 1 100 100 0 0 0 Y
TOLEVEL 1 RING NOCOVERS
TLAYNAM Via1 INH
USER_DAT FromImport
13.625 6.622885
13.625 6.372885
13.875 6.372885
13.875 6.622885
13.625 6.622885
END
VIA POLYGON
2 5 -1 N 1494 1 1 100 100 0 0 0 Y
TOLEVEL 1 RING NOCOVERS
TLAYNAM Via1 INH
USER_DAT FromImport
14.625 6.622885
14.625 6.372885
14.875 6.372885
14.875 6.622885
14.625 6.622885
END
VIA POLYGON
2 5 -1 N 1495 1 1 100 100 0 0 0 Y
TOLEVEL 1 RING NOCOVERS
TLAYNAM Via1 INH
USER_DAT FromImport
15.625 6.622885
15.625 6.372885
15.875 6.372885
15.875 6.622885
15.625 6.622885
END
VIA POLYGON
2 5 -1 N 1496 1 1 100 100 0 0 0 Y
TOLEVEL 1 RING NOCOVERS
TLAYNAM Via1 INH
USER_DAT FromImport
16.625 6.622885
16.625 6.372885
16.875 6.372885
16.875 6.622885
16.625 6.622885
END
VIA POLYGON
2 5 -1 N 1497 1 1 100 100 0 0 0 Y
TOLEVEL 1 RING NOCOVERS
TLAYNAM Via1 INH
USER_DAT FromImport
17.625 6.622885
17.625 6.372885
17.875 6.372885
17.875 6.622885
17.625 6.622885
END
VIA POLYGON
2 5 -1 N 1498 1 1 100 100 0 0 0 Y
TOLEVEL 1 RING NOCOVERS
TLAYNAM Via1 INH
USER_DAT FromImport
18.625 6.622885
18.625 6.372885
18.875 6.372885
18.875 6.622885
18.625 6.622885
END
VIA POLYGON
2 5 -1 N 1499 1 1 100 100 0 0 0 Y
TOLEVEL 1 RING NOCOVERS
TLAYNAM Via1 INH
USER_DAT FromImport
19.625 6.622885
19.625 6.372885
19.875 6.372885
19.875 6.622885
19.625 6.622885
END
VIA POLYGON
2 5 -1 N 1500 1 1 100 100 0 0 0 Y
TOLEVEL 1 RING NOCOVERS
TLAYNAM Via1 INH
USER_DAT FromImport
20.625 6.622885
20.625 6.372885
20.875 6.372885
20.875 6.622885
20.625 6.622885
END
VIA POLYGON
2 5 -1 N 1501 1 1 100 100 0 0 0 Y
TOLEVEL 1 RING NOCOVERS
TLAYNAM Via1 INH
USER_DAT FromImport
21.625 6.622885
21.625 6.372885
21.875 6.372885
21.875 6.622885
21.625 6.622885
END
VIA POLYGON
2 5 -1 N 1502 1 1 100 100 0 0 0 Y
TOLEVEL 1 RING NOCOVERS
TLAYNAM Via1 INH
USER_DAT FromImport
22.625 6.622885
22.625 6.372885
22.875 6.372885
22.875 6.622885
22.625 6.622885
END
VIA POLYGON
2 5 -1 N 1503 1 1 100 100 0 0 0 Y
TOLEVEL 1 RING NOCOVERS
TLAYNAM Via1 INH
USER_DAT FromImport
23.625 6.622885
23.625 6.372885
23.875 6.372885
23.875 6.622885
23.625 6.622885
END
VIA POLYGON
2 5 -1 N 1504 1 1 100 100 0 0 0 Y
TOLEVEL 1 RING NOCOVERS
TLAYNAM Via1 INH
USER_DAT FromImport
24.625 6.622885
24.625 6.372885
24.875 6.372885
24.875 6.622885
24.625 6.622885
END
VIA POLYGON
2 5 -1 N 1506 1 1 100 100 0 0 0 Y
TOLEVEL 1 RING NOCOVERS
TLAYNAM Via1 INH
USER_DAT FromImport
0.375 8.622885
0.375 8.372885
0.625 8.372885
0.625 8.622885
0.375 8.622885
END
VIA POLYGON
2 5 -1 N 1507 1 1 100 100 0 0 0 Y
TOLEVEL 1 RING NOCOVERS
TLAYNAM Via1 INH
USER_DAT FromImport
2.875 8.622885
2.875 8.372885
3.125 8.372885
3.125 8.622885
2.875 8.622885
END
VIA POLYGON
2 5 -1 N 1508 1 1 100 100 0 0 0 Y
TOLEVEL 1 RING NOCOVERS
TLAYNAM Via1 INH
USER_DAT FromImport
4.875 8.622885
4.875 8.372885
5.125 8.372885
5.125 8.622885
4.875 8.622885
END
VIA POLYGON
2 5 -1 N 1509 1 1 100 100 0 0 0 Y
TOLEVEL 1 RING NOCOVERS
TLAYNAM Via1 INH
USER_DAT FromImport
5.625 8.622885
5.625 8.372885
5.875 8.372885
5.875 8.622885
5.625 8.622885
END
VIA POLYGON
2 5 -1 N 1510 1 1 100 100 0 0 0 Y
TOLEVEL 1 RING NOCOVERS
TLAYNAM Via1 INH
USER_DAT FromImport
6.625 8.622885
6.625 8.372885
6.875 8.372885
6.875 8.622885
6.625 8.622885
END
VIA POLYGON
2 5 -1 N 1511 1 1 100 100 0 0 0 Y
TOLEVEL 1 RING NOCOVERS
TLAYNAM Via1 INH
USER_DAT FromImport
1.18 9.287885
1.18 8.147885
2.32 8.147885
2.32 9.287885
1.18 9.287885
END
VIA POLYGON
2 5 -1 N 1512 1 1 100 100 0 0 0 Y
TOLEVEL 1 RING NOCOVERS
TLAYNAM Via1 INH
USER_DAT FromImport
3.39 9.287885
3.39 8.147885
4.53 8.147885
4.53 9.287885
3.39 9.287885
END
VIA POLYGON
2 5 -1 N 1513 1 1 100 100 0 0 0 Y
TOLEVEL 1 RING NOCOVERS
TLAYNAM Via1 INH
USER_DAT FromImport
0.375 6.622885
0.375 6.372885
0.625 6.372885
0.625 6.622885
0.375 6.622885
END
VIA POLYGON
2 5 -1 N 1514 1 1 100 100 0 0 0 Y
TOLEVEL 1 RING NOCOVERS
TLAYNAM Via1 INH
USER_DAT FromImport
2.875 6.622885
2.875 6.372885
3.125 6.372885
3.125 6.622885
2.875 6.622885
END
VIA POLYGON
2 5 -1 N 1515 1 1 100 100 0 0 0 Y
TOLEVEL 1 RING NOCOVERS
TLAYNAM Via1 INH
USER_DAT FromImport
4.875 6.622885
4.875 6.372885
5.125 6.372885
5.125 6.622885
4.875 6.622885
END
VIA POLYGON
2 5 -1 N 1516 1 1 100 100 0 0 0 Y
TOLEVEL 1 RING NOCOVERS
TLAYNAM Via1 INH
USER_DAT FromImport
5.625 6.622885
5.625 6.372885
5.875 6.372885
5.875 6.622885
5.625 6.622885
END
VIA POLYGON
2 5 -1 N 1517 1 1 100 100 0 0 0 Y
TOLEVEL 1 RING NOCOVERS
TLAYNAM Via1 INH
USER_DAT FromImport
6.625 6.622885
6.625 6.372885
6.875 6.372885
6.875 6.622885
6.625 6.622885
END
VIA POLYGON
2 5 -1 N 1518 1 1 100 100 0 0 0 Y
TOLEVEL 1 RING NOCOVERS
TLAYNAM Via1 INH
USER_DAT FromImport
7.625 6.622885
7.625 6.372885
7.875 6.372885
7.875 6.622885
7.625 6.622885
END
VIA POLYGON
2 5 -1 N 1519 1 1 100 100 0 0 0 Y
TOLEVEL 1 RING NOCOVERS
TLAYNAM Via1 INH
USER_DAT FromImport
8.625 6.622885
8.625 6.372885
8.875 6.372885
8.875 6.622885
8.625 6.622885
END
VIA POLYGON
2 5 -1 N 1520 1 1 100 100 0 0 0 Y
TOLEVEL 1 RING NOCOVERS
TLAYNAM Via1 INH
USER_DAT FromImport
9.625 6.622885
9.625 6.372885
9.875 6.372885
9.875 6.622885
9.625 6.622885
END
VIA POLYGON
2 5 -1 N 1521 1 1 100 100 0 0 0 Y
TOLEVEL 1 RING NOCOVERS
TLAYNAM Via1 INH
USER_DAT FromImport
10.625 6.622885
10.625 6.372885
10.875 6.372885
10.875 6.622885
10.625 6.622885
END
VIA POLYGON
2 5 -1 N 1522 1 1 100 100 0 0 0 Y
TOLEVEL 1 RING NOCOVERS
TLAYNAM Via1 INH
USER_DAT FromImport
11.625 6.622885
11.625 6.372885
11.875 6.372885
11.875 6.622885
11.625 6.622885
END
VIA POLYGON
2 5 -1 N 1523 1 1 100 100 0 0 0 Y
TOLEVEL 1 RING NOCOVERS
TLAYNAM Via1 INH
USER_DAT FromImport
12.625 6.622885
12.625 6.372885
12.875 6.372885
12.875 6.622885
12.625 6.622885
END
VIA POLYGON
2 5 -1 N 1524 1 1 100 100 0 0 0 Y
TOLEVEL 1 RING NOCOVERS
TLAYNAM Via1 INH
USER_DAT FromImport
7.625 8.622885
7.625 8.372885
7.875 8.372885
7.875 8.622885
7.625 8.622885
END
VIA POLYGON
2 5 -1 N 1525 1 1 100 100 0 0 0 Y
TOLEVEL 1 RING NOCOVERS
TLAYNAM Via1 INH
USER_DAT FromImport
8.625 8.622885
8.625 8.372885
8.875 8.372885
8.875 8.622885
8.625 8.622885
END
VIA POLYGON
2 5 -1 N 1526 1 1 100 100 0 0 0 Y
TOLEVEL 1 RING NOCOVERS
TLAYNAM Via1 INH
USER_DAT FromImport
9.625 8.622885
9.625 8.372885
9.875 8.372885
9.875 8.622885
9.625 8.622885
END
VIA POLYGON
2 5 -1 N 1527 1 1 100 100 0 0 0 Y
TOLEVEL 1 RING NOCOVERS
TLAYNAM Via1 INH
USER_DAT FromImport
10.625 8.622885
10.625 8.372885
10.875 8.372885
10.875 8.622885
10.625 8.622885
END
VIA POLYGON
2 5 -1 N 1528 1 1 100 100 0 0 0 Y
TOLEVEL 1 RING NOCOVERS
TLAYNAM Via1 INH
USER_DAT FromImport
11.625 8.622885
11.625 8.372885
11.875 8.372885
11.875 8.622885
11.625 8.622885
END
VIA POLYGON
2 5 -1 N 1529 1 1 100 100 0 0 0 Y
TOLEVEL 1 RING NOCOVERS
TLAYNAM Via1 INH
USER_DAT FromImport
12.625 8.622885
12.625 8.372885
12.875 8.372885
12.875 8.622885
12.625 8.622885
END
VIA POLYGON
2 5 -1 N 1539 1 1 100 100 0 0 0 Y
TOLEVEL 1 RING NOCOVERS
TLAYNAM Via1 INH
USER_DAT FromImport
1.18 6.847885
1.18 5.707885
2.32 5.707885
2.32 6.847885
1.18 6.847885
END
VIA POLYGON
2 5 -1 N 1540 1 1 100 100 0 0 0 Y
TOLEVEL 1 RING NOCOVERS
TLAYNAM Via1 INH
USER_DAT FromImport
3.41 6.847885
3.41 5.707885
4.55 5.707885
4.55 6.847885
3.41 6.847885
END
2 74 2 N 1968 1 1 100 100 0 0 0 Y
TLAYNAM Metal2 INH
USER_DAT FromImport
51.275 7.87
51.275 7.693885
51.273 7.679885
51.271 7.672885
51.268 7.665885
51.264 7.658885
51.26 7.652885
51.256 7.647885
51.25 7.641885
51.245 7.637885
51.239 7.633885
51.232 7.629885
51.225 7.626885
51.218 7.624885
51.204 7.622885
49.75 7.622885
49.75 7.377115
51.204 7.377115
51.218 7.375115
51.225 7.373115
51.232 7.370115
51.239 7.366115
51.245 7.362115
51.25 7.358115
51.256 7.352115
51.26 7.347115
51.264 7.341115
51.268 7.334115
51.271 7.327115
51.273 7.320115
51.275 7.306115
51.275 7.13
51.275 2.37
0.225 2.37
0.225 7.301885
0.225 7.301885
0.225 7.306115
0.227 7.320115
0.229 7.327115
0.232 7.334115
0.236 7.341115
0.24 7.347115
0.244 7.352115
0.25 7.358115
0.255 7.362115
0.261 7.366115
0.268 7.370115
0.275 7.373115
0.282 7.375115
0.296 7.377115
1.775 7.377115
1.775 7.622885
0.296 7.622885
0.282 7.624885
0.275 7.626885
0.268 7.629885
0.261 7.633885
0.255 7.637885
0.25 7.641885
0.244 7.647885
0.24 7.652885
0.236 7.658885
0.232 7.665885
0.229 7.672885
0.227 7.679885
0.225 7.693885
0.225 7.698115
0.225 7.698115
0.225 7.698115
0.225 7.87
0.225 7.87
0.225 12.63
51.275 12.63
51.275 7.87
END
END GEO
OPT
MAX 100
END OPT
VARSWP
ENABLED Y
FREQ Y AN SWEEP 1.0 15.0 1.0
FREQ Y AY ABS_ENTRY 0.01 15.0 -1 300 
END
END VARSWP
```
